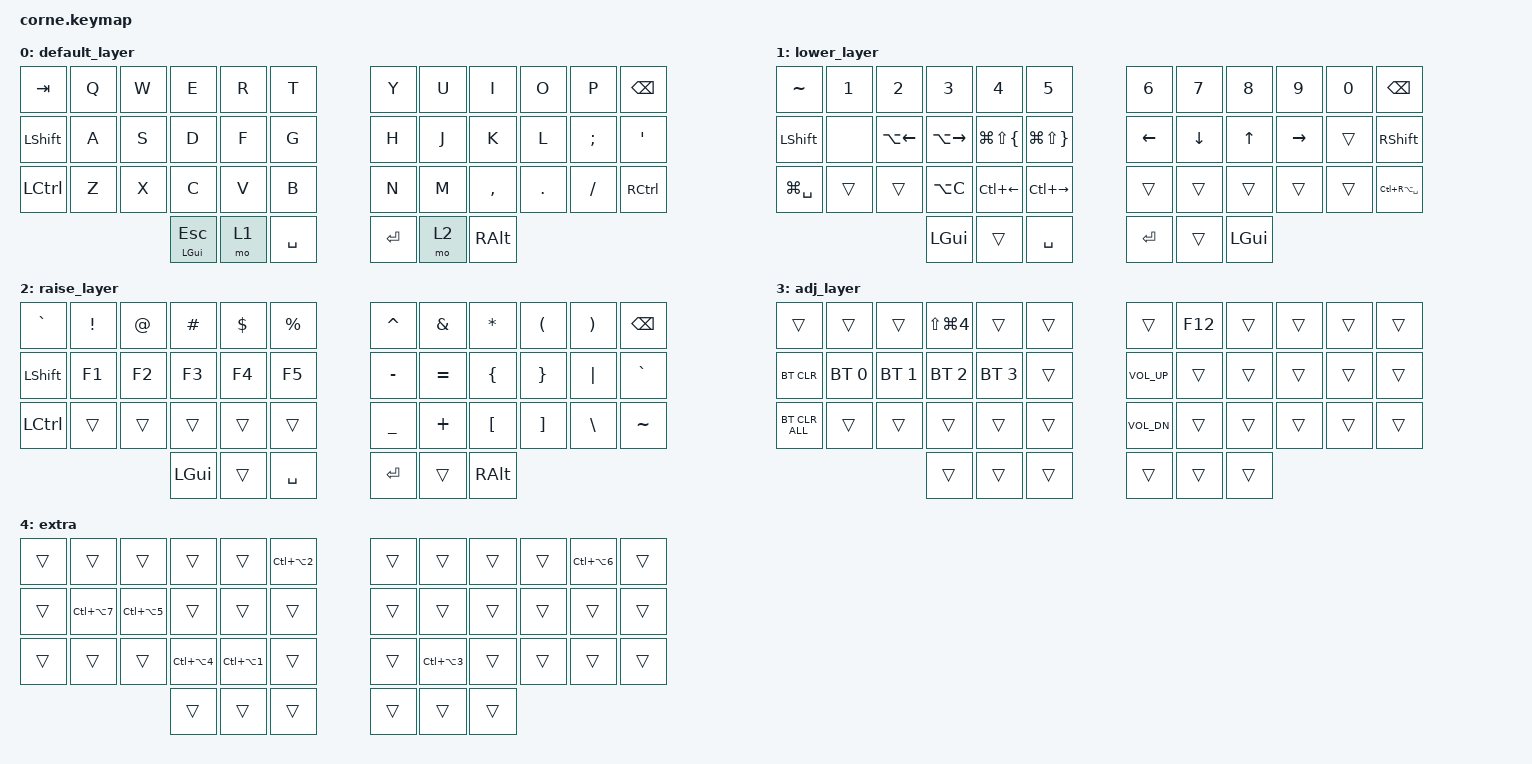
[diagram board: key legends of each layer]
/*
 * Copyright (c) 2020 The ZMK Contributors
 *
 * SPDX-License-Identifier: MIT
 */

#include <behaviors.dtsi>
#include <dt-bindings/zmk/bt.h>
#include <dt-bindings/zmk/keys.h>

#define DEFAULT 0
#define LWR 1
#define RSE 2

/ {
    conditional_layers {
        compatible = "zmk,conditional-layers";

        tri_layer {
            if-layers = <1 2>;
            then-layer = <3>;
        };
    };

    combos {
        compatible = "zmk,combos";

        caps {
            bindings = <&caps_word>;
            key-positions = <17 18>;
        };

        extra_layer {
            bindings = <&sl 4>;
            key-positions = <16 15>;
        };
    };

    keymap {
        compatible = "zmk,keymap";

        default_layer {
            // -----------------------------------------------------------------------------------------
            // |  TAB |  Q  |  W  |  E  |  R  |  T  |   |  Y  |  U   |  I  |  O  |  P  | BSPC |
            // | SHFT |  A  |  S  |  D  |  F  |  G  |   |  H  |  J   |  K  |  L  |  ;  |  '   |
            // | CTRL |  Z  |  X  |  C  |  V  |  B  |   |  N  |  M   |  ,  |  .  |  /  | CTRL  |
            //                    | GUI | LWR | SPC |   | ENT | RSE  | ALT |

            bindings = <
&kp TAB         &kp Q  &kp W  &kp E         &kp R  &kp T        &kp Y    &kp U  &kp I      &kp O    &kp P     &kp BSPC
&kp LEFT_SHIFT  &kp A  &kp S  &kp D         &kp F  &kp G        &kp H    &kp J  &kp K      &kp L    &kp SEMI  &kp SQT
&kp LCTRL       &kp Z  &kp X  &kp C         &kp V  &kp B        &kp N    &kp M  &kp COMMA  &kp DOT  &kp FSLH  &kp RCTRL
                              &mt LGUI ESC  &mo 1  &kp SPACE    &kp RET  &mo 2  &kp RALT
            >;
        };

        lower_layer {
            // -----------------------------------------------------------------------------------------
            // |  ~ |  1  |  2  |  3  |  4  |  5  |   |  6  |  7  |  8  |  9  |  0  | BSPC |
            // | SHFT | BSPC | OPL | OPR | NTL | NTR |   | LFT | DWN |  UP | RGT |     | SHFT |
            // | SRCH |     |     | ç |  NSL | NSR  |   |     |     |     |     |     |  LANG |
            //                    | GUI |     | SPC |   | ENT |  ADJ  | GUI |

            bindings = <
&kp TILDE      &kp N1  &kp N2        &kp N3         &kp N4            &kp N5              &kp N6    &kp N7    &kp N8    &kp N9     &kp N0  &kp BSPC
&kp LSHFT      &none   &kp LA(LEFT)  &kp LA(RIGHT)  &kp LG(LS(LBRC))  &kp LG(LS(RBRC))    &kp LEFT  &kp DOWN  &kp UP    &kp RIGHT  &trans  &kp RSHFT
&kp LG(SPACE)  &trans  &trans        &kp LA(C)      &kp LC(LEFT)      &kp LC(RIGHT)       &trans    &trans    &trans    &trans     &trans  &kp LC(RA(SPACE))
                                     &kp LGUI       &trans            &kp SPACE           &kp RET   &trans    &kp LGUI
            >;
        };

        raise_layer {
            // -----------------------------------------------------------------------------------------
            // |  ` |  !  |  @  |  #  |  $  |  %  |   |  ^  |  &  |  *  |  (  |  )  | BSPC |
            // | SHFT |   F1  |  F2   |  F3   |  F4   |  F5   |   |  -  |  =  |  {  |  }  | "|" |  `   |
            // | CTRL |     |     |     |     |     |   |  _  |  +  |  [  |  ]  | "\" |  ~   |
            //                    | GUI |     | SPC |   | ENT |     | ALT |

            bindings = <
&kp GRAVE  &kp EXCL  &kp AT  &kp HASH  &kp DLLR  &kp PRCNT    &kp CARET  &kp AMPS   &kp ASTRK  &kp LPAR  &kp RPAR  &kp BSPC
&kp LSHFT  &kp F1    &kp F2  &kp F3    &kp F4    &kp F5       &kp MINUS  &kp EQUAL  &kp LBRC   &kp RBRC  &kp PIPE  &kp GRAVE
&kp LCTRL  &trans    &trans  &trans    &trans    &trans       &kp UNDER  &kp PLUS   &kp LBKT   &kp RBKT  &kp BSLH  &kp TILDE
                             &kp LGUI  &trans    &kp SPACE    &kp RET    &trans     &kp RALT
            >;
        };

        adj_layer {
            // -----------------------------------------------------------------------------------------
            // |      |     |     |     |     |     |   |     |     |     |     |     |      |
            // |BTCLR | BT1 | BT2 | BT3 |     |     |   | VOLU|     |     |     |     |      |
            // |BTCLA |     |     |     |     |     |   | VOLD|     |     |     |     |      |
            //                    |     |     |     |   |     |     |     |

            bindings = <
&trans          &trans        &trans        &kp LS(LG(NUMBER_4))  &trans        &trans    &trans        &kp F12  &trans  &trans  &trans  &trans
&bt BT_CLR      &bt BT_SEL 0  &bt BT_SEL 1  &bt BT_SEL 2          &bt BT_SEL 3  &trans    &kp C_VOL_UP  &trans   &trans  &trans  &trans  &trans
&bt BT_CLR_ALL  &trans        &trans        &trans                &trans        &trans    &kp C_VOL_DN  &trans   &trans  &trans  &trans  &trans
                                            &trans                &trans        &trans    &trans        &trans   &trans
            >;
        };

        extra {
            bindings = <
&trans  &trans          &trans                &trans                &trans                &kp LC(LA(NUMBER_2))    &trans  &trans                &trans  &trans  &kp LC(LA(NUMBER_6))  &trans
&trans  &kp LC(LA(N7))  &kp LC(LA(NUMBER_5))  &trans                &trans                &trans                  &trans  &trans                &trans  &trans  &trans                &trans
&trans  &trans          &trans                &kp LC(LA(NUMBER_4))  &kp LC(LA(NUMBER_1))  &trans                  &trans  &kp LC(LA(NUMBER_3))  &trans  &trans  &trans                &trans
                                              &trans                &trans                &trans                  &trans  &trans                &trans
            >;
        };
    };
};
